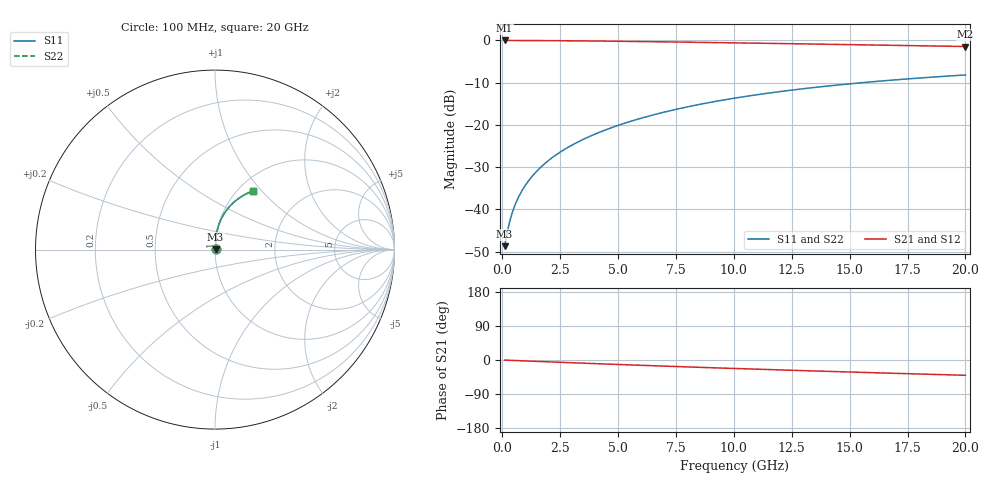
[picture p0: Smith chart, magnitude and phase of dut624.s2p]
! Touchstone file exported from HFSS 2024.1.0
!  File:  C:/UserFiles/LocalFiles/RDL_TSV_Batchsim/temp_RDL_top_624_1779780304.aedt
!  Generated:  03:27:27 PM May 26, 2026
!  Design:  RDL_top
!  Project:  temp_RDL_top_624_1779780304
!  Setup:  Setup1
!  Solution:  Sweep
! Variables:
!  dtsv = 10.80580581um
!  hbump = 3um
!  htsv = 74.66um
!  ldown = 100um
!  lrdl = 526.01um
!  p = 40
!  p1 = 59.56um
!  rhole = 1um
!  t = 450um
!  tdown = 3.915915916um
!  trdl = 2.79um
!  wdown = 15.38538539um
!  wrdl = 23.93um
# GHz S MA R 50.000000
! Terminal data exported
! Port[1] = Box2_T1
! Port[2] = Box2_T2
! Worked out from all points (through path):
!   200 points, 100 MHz to 20 GHz, reference 50 ohm
!   highest |S21| = -0.03 dB at 100 MHz (marker M1); lowest = -1.5 dB at 20 GHz (marker M2)
!   group delay of S21, straight-line fit = 5.56 ps
!   lowest |S11| = -48.7 dB at 100 MHz (marker M3), VSWR 1.01, Z = 50.3 + j0.207 ohm
!   |S11| at or under -10 dB: start of sweep to 15.56 GHz
!   |S22| runs from -48.7 to -8.2 dB; largest |S21 - S12| = 2.4e-15
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0.1  0.003679 33.9  0.9969 -0.3  0.9969 -0.3  0.003679 33.9
! Gamma 0 0 0 0
! Port Impedance 50 0 50 0
0.2  0.005149 52.1  0.9968 -0.5  0.9968 -0.5  0.005149 52.1
0.3  0.00686 61.2  0.9966 -0.8  0.9966 -0.8  0.00686 61.2
0.4  0.008626 66.5  0.9964 -1.0  0.9964 -1.0  0.008626 66.5
0.5  0.0104 70.0  0.9962 -1.3  0.9962 -1.3  0.0104 70.0
0.6  0.01218 72.5  0.996 -1.5  0.996 -1.5  0.01218 72.5
0.8  0.01576 76.0  0.9956 -2.0  0.9956 -2.0  0.01576 76.0
1.1  0.0212 79.2  0.995 -2.7  0.995 -2.7  0.0212 79.2
1.3  0.02488 80.6  0.9945 -3.2  0.9945 -3.2  0.02488 80.6
1.6  0.03046 82.1  0.9936 -3.9  0.9936 -3.9  0.03046 82.0
2.1  0.03993 83.5  0.9918 -5.1  0.9918 -5.1  0.03993 83.5
2.7  0.05156 84.4  0.9893 -6.6  0.9893 -6.6  0.05156 84.4
3.5  0.06752 84.7  0.985 -8.4  0.985 -8.4  0.06751 84.7
4.2  0.08187 84.5  0.9807 -10.1  0.9807 -10.1  0.08187 84.5
5  0.09866 83.8  0.9753 -11.9  0.9753 -11.9  0.09865 83.8
6.8  0.1374 81.5  0.9615 -15.8  0.9615 -15.8  0.1374 81.5
8.4  0.1722 78.8  0.9483 -19.1  0.9483 -19.1  0.1721 78.8
10.1  0.2086 75.6  0.9337 -22.5  0.9337 -22.5  0.2086 75.6
11.7  0.2418 72.4  0.9197 -25.6  0.9197 -25.6  0.2418 72.4
13.4  0.2757 69.1  0.9045 -28.8  0.9045 -28.8  0.2757 69.1
16.7  0.3363 62.9  0.8749 -34.8  0.8749 -34.8  0.3363 62.8
20  0.3898 57.0  0.8454 -40.3  0.8454 -40.3  0.3897 57.0
